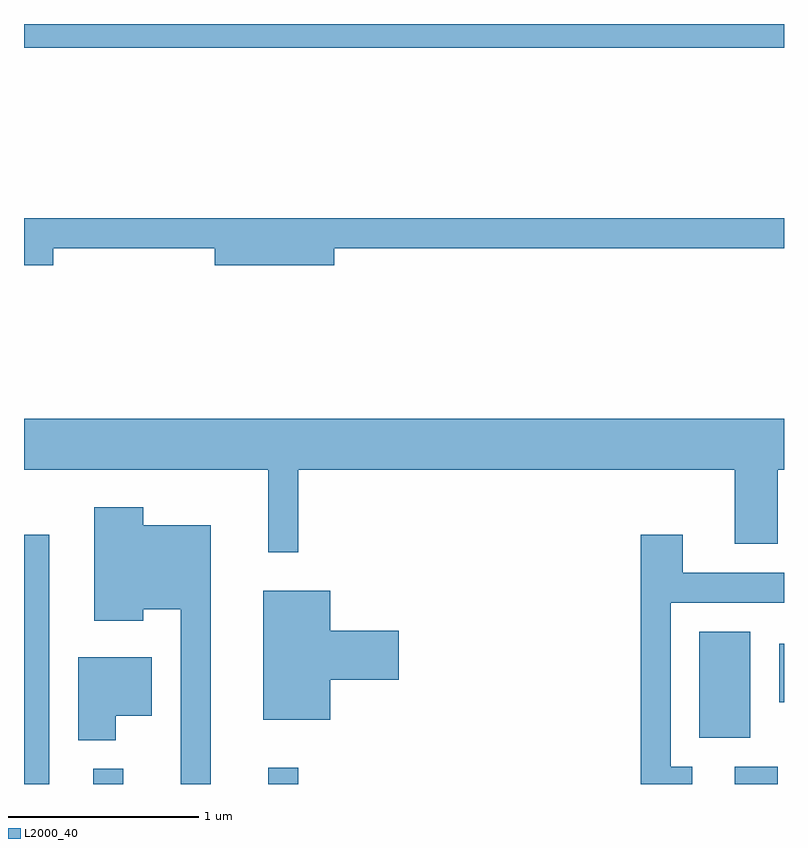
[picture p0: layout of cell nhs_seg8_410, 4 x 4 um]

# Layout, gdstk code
import gdstk
lib = gdstk.Library(unit=1e-6, precision=1e-09)
def R(c, l, rs):  # rectangles x0, y0, x1, y1
    for r in rs: c.add(gdstk.rectangle(r[:2], r[2:], *l))
def P(c, l, *ps):  # polygons
    for p in ps: c.add(gdstk.Polygon(p, *l))
L2000_40 = (2000, 40)

nhs_seg8_410 = lib.new_cell('nhs_seg8_410')
R(nhs_seg8_410, L2000_40, [(197.611,1810.342,197.744,1811.654), (197.976,1810.342,198.134,1810.423), (198.896,1810.342,199.054,1810.428), (201.351,1810.342,201.579,1810.434), (201.166,1810.586,201.434,1811.144), (201.586,1810.771,201.611,1811.079), (197.611,1814.216,201.611,1814.342)])
P(nhs_seg8_410, L2000_40, [(197.764,1813.161),(198.616,1813.161),(198.616,1813.071),(199.244,1813.071),(199.244,1813.161),(201.611,1813.161),(201.611,1813.319),(197.611,1813.319),(197.611,1813.071),(197.764,1813.071)],
  [(199.054,1811.996),(201.351,1811.996),(201.351,1811.606),(201.579,1811.606),(201.579,1811.996),(201.611,1811.996),(201.611,1812.264),(197.611,1812.264),(197.611,1811.996),(198.896,1811.996),(198.896,1811.563),(199.054,1811.563)],
  [(198.594,1811.704),(198.239,1811.704),(198.239,1811.799),(197.981,1811.799),(197.981,1811.201),(198.239,1811.201),(198.239,1811.261),(198.436,1811.261),(198.436,1810.342),(198.594,1810.342)],
  [(201.128,1810.434),(201.014,1810.434),(201.014,1811.296),(201.611,1811.296),(201.611,1811.454),(201.079,1811.454),(201.079,1811.654),(200.856,1811.654),(200.856,1810.342),(201.128,1810.342)],
  [(199.224,1810.891),(199.584,1810.891),(199.584,1811.149),(199.224,1811.149),(199.224,1811.359),(198.871,1811.359),(198.871,1810.681),(199.224,1810.681)],
  [(198.094,1810.701),(198.284,1810.701),(198.284,1811.009),(197.896,1811.009),(197.896,1810.571),(198.094,1810.571)])

lib.write_gds('nhs_seg8_410.gds')
